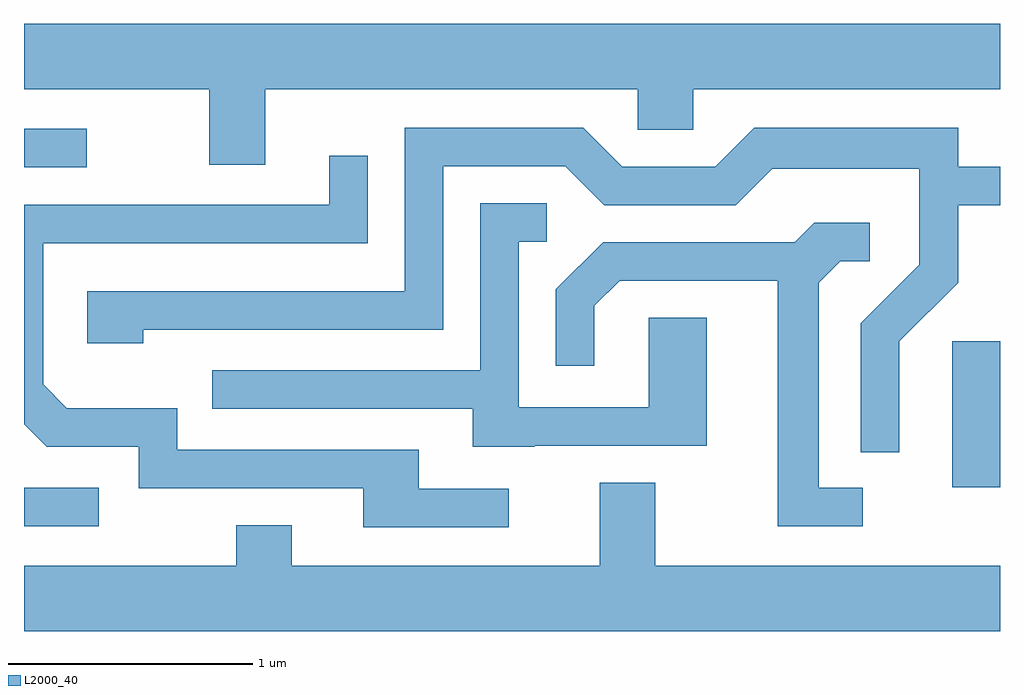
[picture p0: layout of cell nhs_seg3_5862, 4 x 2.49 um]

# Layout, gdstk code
import gdstk
lib = gdstk.Library(unit=1e-6, precision=1e-09)
def R(c, l, rs):  # rectangles x0, y0, x1, y1
    for r in rs: c.add(gdstk.rectangle(r[:2], r[2:], *l))
def P(c, l, *ps):  # polygons
    for p in ps: c.add(gdstk.Polygon(p, *l))
L2000_40 = (2000, 40)

nhs_seg3_5862 = lib.new_cell('nhs_seg3_5862')
R(nhs_seg3_5862, L2000_40, [(357.611,1153.086,357.918,1153.244), (361.416,1153.246,361.611,1153.844), (357.611,1154.556,357.868,1154.714)])
P(nhs_seg3_5862, L2000_40, [(358.599,1154.876),(360.126,1154.876),(360.126,1154.711),(360.354,1154.711),(360.354,1154.876),(361.611,1154.876),(361.611,1155.144),(357.611,1155.144),(357.611,1154.876),(358.371,1154.876),(358.371,1154.566),(358.599,1154.566)],
  [(361.199,1153.844),(361.439,1154.084),(361.439,1154.401),(361.611,1154.401),(361.611,1154.559),(361.439,1154.559),(361.439,1154.719),(360.604,1154.719),(360.444,1154.559),(360.062,1154.559),(359.902,1154.719),(359.171,1154.719),(359.171,1154.049),(357.871,1154.049),(357.871,1153.836),(358.099,1153.836),(358.099,1153.891),(359.329,1153.891),(359.329,1154.561),(359.829,1154.561),(359.989,1154.401),(360.527,1154.401),(360.677,1154.551),(361.281,1154.551),(361.281,1154.157),(361.041,1153.917),(361.041,1153.388),(361.199,1153.388)],
  [(359.598,1153.239),(359.229,1153.239),(359.229,1153.399),(358.239,1153.399),(358.239,1153.569),(357.787,1153.569),(357.689,1153.667),(357.689,1154.246),(359.019,1154.246),(359.019,1154.603),(358.861,1154.603),(358.861,1154.404),(357.611,1154.404),(357.611,1153.504),(357.704,1153.411),(358.081,1153.411),(358.081,1153.241),(359.001,1153.241),(359.001,1153.081),(359.598,1153.081)],
  [(359.705,1153.416),(360.409,1153.416),(360.409,1153.939),(360.171,1153.939),(360.171,1153.574),(359.639,1153.574),(359.639,1154.251),(359.753,1154.251),(359.753,1154.409),(359.481,1154.409),(359.481,1153.724),(358.383,1153.724),(358.383,1153.566),(359.451,1153.566),(359.451,1153.411),(359.705,1153.411)],
  [(361.048,1153.244),(360.869,1153.244),(360.869,1154.084),(360.957,1154.171),(361.078,1154.171),(361.078,1154.329),(360.849,1154.329),(360.769,1154.249),(359.984,1154.249),(359.791,1154.057),(359.791,1153.743),(359.949,1153.743),(359.949,1153.989),(360.052,1154.091),(360.701,1154.091),(360.701,1153.086),(361.048,1153.086)],
  [(361.611,1152.924),(360.199,1152.924),(360.199,1153.264),(359.971,1153.264),(359.971,1152.924),(358.709,1152.924),(358.709,1153.089),(358.481,1153.089),(358.481,1152.924),(357.611,1152.924),(357.611,1152.656),(361.611,1152.656)])

lib.write_gds('nhs_seg3_5862.gds')
